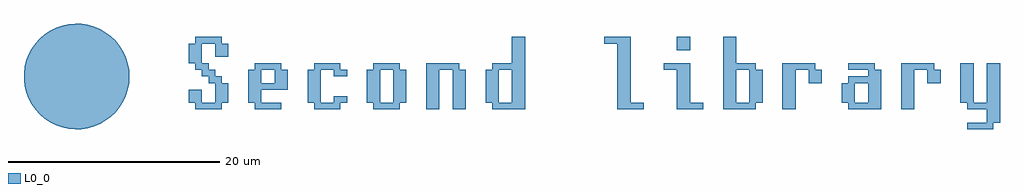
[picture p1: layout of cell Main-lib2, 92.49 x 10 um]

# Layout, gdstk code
import gdstk
lib = gdstk.Library(unit=1e-6, precision=1e-09)
def R(c, l, rs):  # rectangles x0, y0, x1, y1
    for r in rs: c.add(gdstk.rectangle(r[:2], r[2:], *l))
def P(c, l, *ps):  # polygons
    for p in ps: c.add(gdstk.Polygon(p, *l))
L0_0 = (0, 0)

circle_lib2 = lib.new_cell('Circle-lib2')
P(circle_lib2, L0_0, [(-5,5),(-5.038,5.614),(-5.151,6.22),(-5.338,6.806),(-5.595,7.365),(-5.919,7.889),(-6.305,8.368),(-6.747,8.797),(-7.238,9.168),(-7.771,9.476),(-8.338,9.716),(-8.93,9.884),(-9.539,9.979),(-10.154,9.998),(-10.767,9.941),(-11.368,9.809),(-11.949,9.605),(-12.5,9.33),(-13.013,8.99),(-13.481,8.59),(-13.895,8.135),(-14.251,7.632),(-14.542,7.09),(-14.765,6.516),(-14.915,5.919),(-14.991,5.308),(-14.991,4.692),(-14.915,4.081),(-14.765,3.484),(-14.542,2.91),(-14.251,2.368),(-13.895,1.865),(-13.481,1.41),(-13.013,1.01),(-12.5,0.67),(-11.949,0.395),(-11.368,0.191),(-10.767,0.059),(-10.154,0.002),(-9.539,0.021),(-8.93,0.116),(-8.338,0.284),(-7.771,0.524),(-7.238,0.832),(-6.747,1.203),(-6.305,1.632),(-5.919,2.111),(-5.595,2.635),(-5.338,3.194),(-5.151,3.78),(-5.038,4.386)])

main_lib2 = lib.new_cell('Main-lib2')
R(main_lib2, L0_0, [(46.875,7.5,48.125,8.75)])
P(main_lib2, L0_0, [(1.25,2.5),(1.25,1.875),(3.75,1.875),(3.75,2.5),(4.375,2.5),(4.375,4.375),(3.75,4.375),(3.75,5),(3.125,5),(3.125,5.625),(2.5,5.625),(2.5,6.25),(1.875,6.25),(1.875,8.125),(3.125,8.125),(3.125,6.875),(4.375,6.875),(4.375,8.125),(3.75,8.125),(3.75,8.75),(1.25,8.75),(1.25,8.125),(0.625,8.125),(0.625,6.25),(1.25,6.25),(1.25,5.625),(1.875,5.625),(1.875,5),(2.5,5),(2.5,4.375),(3.125,4.375),(3.125,2.5),(1.875,2.5),(1.875,3.75),(0.625,3.75),(0.625,2.5)],
  [(6.875,2.5),(6.875,1.875),(9.375,1.875),(9.375,2.5),(7.5,2.5),(7.5,3.75),(10,3.75),(10,5.625),(9.375,5.625),(9.375,6.25),(6.875,6.25),(6.875,5.625),(6.25,5.625),(6.25,4.375),(7.5,4.375),(7.5,5.625),(8.75,5.625),(8.75,4.375),(7.5,4.375),(6.25,4.375),(6.25,2.5)],
  [(11.875,2.5),(12.5,2.5),(12.5,1.875),(15,1.875),(15,2.5),(15.625,2.5),(15.625,3.125),(14.375,3.125),(14.375,2.5),(13.125,2.5),(13.125,5.625),(14.375,5.625),(14.375,5),(15.625,5),(15.625,5.625),(15,5.625),(15,6.25),(12.5,6.25),(12.5,5.625),(11.875,5.625)],
  [(21.25,5.625),(20.625,5.625),(20.625,6.25),(18.125,6.25),(18.125,5.625),(17.5,5.625),(17.5,2.5),(18.75,2.5),(18.75,5.625),(20,5.625),(20,2.5),(18.75,2.5),(17.5,2.5),(18.125,2.5),(18.125,1.875),(20.625,1.875),(20.625,2.5),(21.25,2.5)],
  [(24.375,1.875),(24.375,5.625),(25.625,5.625),(25.625,1.875),(26.875,1.875),(26.875,5.625),(26.25,5.625),(26.25,6.25),(23.125,6.25),(23.125,1.875)],
  [(31.25,8.75),(31.25,6.25),(29.375,6.25),(29.375,5.625),(28.75,5.625),(28.75,2.5),(30,2.5),(30,5.625),(31.25,5.625),(31.25,2.5),(30,2.5),(28.75,2.5),(29.375,2.5),(29.375,1.875),(32.5,1.875),(32.5,8.75)],
  [(41.25,1.875),(43.75,1.875),(43.75,2.5),(42.5,2.5),(42.5,8.75),(40,8.75),(40,8.125),(41.25,8.125)],
  [(46.875,1.875),(49.375,1.875),(49.375,2.5),(48.125,2.5),(48.125,6.25),(45.625,6.25),(45.625,5.625),(46.875,5.625)],
  [(55,5.625),(54.375,5.625),(54.375,6.25),(52.5,6.25),(52.5,8.75),(51.25,8.75),(51.25,2.5),(52.5,2.5),(52.5,5.625),(53.75,5.625),(53.75,2.5),(52.5,2.5),(51.25,2.5),(51.25,1.875),(54.375,1.875),(54.375,2.5),(55,2.5)],
  [(58.125,1.875),(58.125,5.625),(59.375,5.625),(59.375,4.375),(60.625,4.375),(60.625,5.625),(60,5.625),(60,6.25),(56.875,6.25),(56.875,1.875)],
  [(65.625,5.625),(65.625,6.25),(63.125,6.25),(63.125,5.625),(65,5.625),(65,5),(63.125,5),(63.125,4.375),(62.5,4.375),(62.5,2.5),(63.75,2.5),(63.75,4.375),(65,4.375),(65,2.5),(63.75,2.5),(62.5,2.5),(63.125,2.5),(63.125,1.875),(66.25,1.875),(66.25,5.625)],
  [(69.375,1.875),(69.375,5.625),(70.625,5.625),(70.625,4.375),(71.875,4.375),(71.875,5.625),(71.25,5.625),(71.25,6.25),(68.125,6.25),(68.125,1.875)],
  [(74.375,2.5),(74.375,1.875),(76.25,1.875),(76.25,0.625),(74.375,0.625),(74.375,0),(76.875,0),(76.875,0.625),(77.5,0.625),(77.5,6.25),(76.25,6.25),(76.25,2.5),(75,2.5),(75,6.25),(73.75,6.25),(73.75,2.5)])
main_lib2.add(gdstk.Reference(circle_lib2, (0,0)))

lib.write_gds('Main-lib2.gds')
